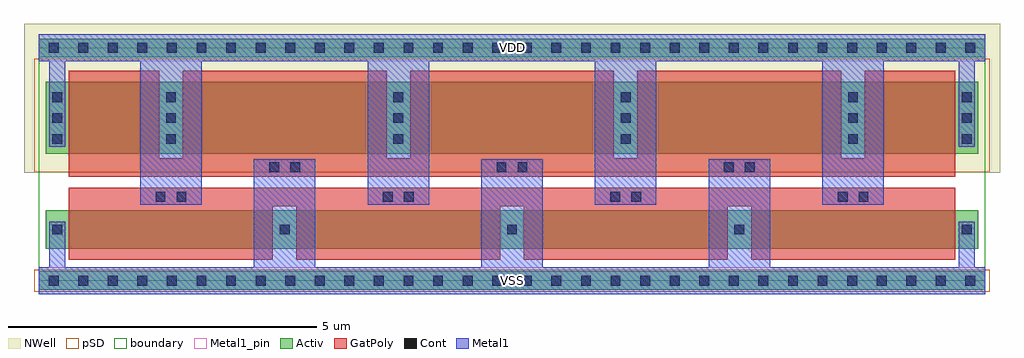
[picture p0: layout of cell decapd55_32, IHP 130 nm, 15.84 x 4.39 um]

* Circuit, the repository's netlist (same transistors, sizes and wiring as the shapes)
* decapd55_32, decap dense SG13CMOS5L, CDL pour le LVS KLayout
.SUBCKT decapd55_32 VDD VSS
*.PININFO VDD:B VSS:B
MN0 VSS VDD VSS VSS sg13_lv_nmos m=1 w=2.480u l=3.310u ng=4
MP0 VDD VSS VDD VDD sg13_lv_pmos m=1 w=3.495u l=3.310u ng=3
MP1 VDD VSS VDD VDD sg13_lv_pmos m=1 w=2.330u l=1.465u ng=2
.ENDS

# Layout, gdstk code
import gdstk
lib = gdstk.Library(unit=1e-6, precision=1e-09)
def R(c, l, rs):  # rectangles x0, y0, x1, y1
    for r in rs: c.add(gdstk.rectangle(r[:2], r[2:], *l))
def A(c, l, x, y, w, h, nx, ny, dx, dy):  # array of equal rectangles
    R(c, l, [(x+i*dx, y+j*dy, x+i*dx+w, y+j*dy+h) for i in range(nx) for j in range(ny)])
Activ = (1, 0)
GatPoly = (5, 0)
Cont = (6, 0)
Metal1 = (8, 0)
Metal1_pin = (8, 2)
pSD = (14, 0)
NWell = (31, 0)
boundary = (189, 4)

decapd55_32 = lib.new_cell('decapd55_32')
R(decapd55_32, Activ, [(0,-0.15,15.36,0.15), (0.11,0.52,15.25,1.14), (0.11,2.06,15.25,3.225), (0,3.63,15.36,3.93)])
A(decapd55_32, GatPoly, 0.49, 0.34, 3.31, 1.17, 4, 1, 3.69, 0)
A(decapd55_32, GatPoly, 2.335, 1.69, 3.31, 1.715, 3, 1, 3.69, 0)
R(decapd55_32, GatPoly, [(0.49,1.21,14.87,1.51), (0.49,1.69,14.87,1.99), (0.49,1.69,1.955,3.405), (13.405,1.69,14.87,3.405)])
A(decapd55_32, Cont, 0.16, -0.08, 0.16, 0.16, 32, 2, 0.48, 3.78)
A(decapd55_32, Cont, 0.22, 0.75, 0.16, 0.16, 5, 1, 3.69, 0)
A(decapd55_32, Cont, 0.22, 2.22, 0.16, 0.16, 1, 3, 0, 0.34)
A(decapd55_32, Cont, 2.065, 2.22, 0.16, 0.16, 4, 3, 3.69, 0.34)
A(decapd55_32, Cont, 14.98, 2.22, 0.16, 0.16, 1, 3, 0, 0.34)
R(decapd55_32, Cont, [(1.895,1.28,2.055,1.44), (2.235,1.28,2.395,1.44), (5.585,1.28,5.745,1.44), (5.925,1.28,6.085,1.44), (9.275,1.28,9.435,1.44), (9.615,1.28,9.775,1.44), (12.965,1.28,13.125,1.44), (13.305,1.28,13.465,1.44), (3.74,1.76,3.9,1.92), (4.08,1.76,4.24,1.92), (7.43,1.76,7.59,1.92), (7.77,1.76,7.93,1.92), (11.12,1.76,11.28,1.92), (11.46,1.76,11.62,1.92)])
A(decapd55_32, Metal1, 3.49, 0, 1, 1.97, 3, 1, 3.69, 0)
A(decapd55_32, Metal1, 1.645, 1.23, 1, 2.55, 4, 1, 3.69, 0)
R(decapd55_32, Metal1, [(0,-0.22,15.36,0.22), (0.17,0,0.43,0.96), (14.93,0,15.19,0.96), (0.17,2.17,0.43,3.78), (14.93,2.17,15.19,3.78), (0,3.56,15.36,4)])
R(decapd55_32, Metal1_pin, [(0,-0.22,15.36,0.22), (0,3.56,15.36,4)])
R(decapd55_32, pSD, [(-0.07,-0.18,15.43,0.18), (-0.07,1.76,15.43,3.6)])
R(decapd55_32, NWell, [(-0.24,1.75,15.6,4.17)])
R(decapd55_32, boundary, [(0,0,15.36,3.78)])
decapd55_32.add(gdstk.Label('VSS', (7.68,0), layer=8, texttype=25))
decapd55_32.add(gdstk.Label('VDD', (7.68,3.78), layer=8, texttype=25))

lib.write_gds('decapd55_32.gds')
